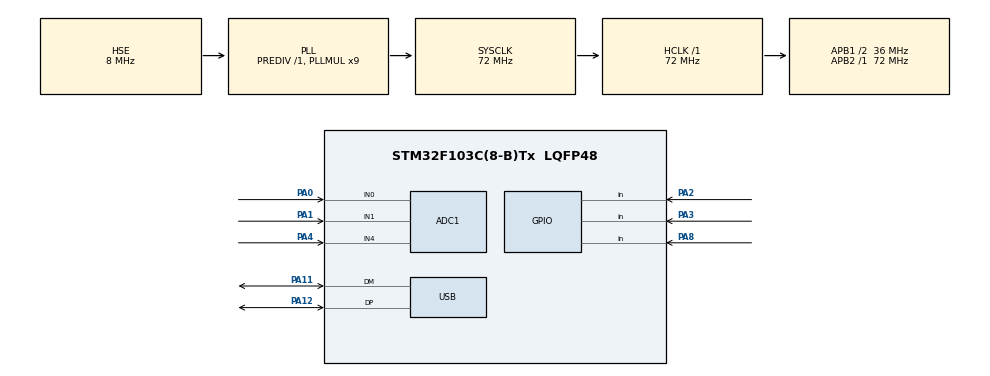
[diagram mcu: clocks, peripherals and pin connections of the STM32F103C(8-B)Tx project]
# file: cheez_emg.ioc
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ADC1.Channel-0\#ChannelRegularConversion=ADC_CHANNEL_0
ADC1.Channel-1\#ChannelRegularConversion=ADC_CHANNEL_1
ADC1.Channel-2\#ChannelRegularConversion=ADC_CHANNEL_4
ADC1.ContinuousConvMode=DISABLE
ADC1.ExternalTrigConv=ADC_EXTERNALTRIGCONV_T3_TRGO
ADC1.NbrOfConversion=3
ADC1.NbrOfConversionFlag=1
ADC1.Rank-0\#ChannelRegularConversion=1
ADC1.Rank-1\#ChannelRegularConversion=2
ADC1.Rank-2\#ChannelRegularConversion=3
ADC1.SamplingTime-0\#ChannelRegularConversion=ADC_SAMPLETIME_28CYCLES_5
ADC1.SamplingTime-1\#ChannelRegularConversion=ADC_SAMPLETIME_28CYCLES_5
ADC1.SamplingTime-2\#ChannelRegularConversion=ADC_SAMPLETIME_28CYCLES_5
ADC1.master=1
Dma.ADC1.0.Direction=DMA_PERIPH_TO_MEMORY
Dma.ADC1.0.Instance=DMA1_Channel1
Dma.ADC1.0.MemDataAlignment=DMA_MDATAALIGN_HALFWORD
Dma.ADC1.0.MemInc=DMA_MINC_ENABLE
Dma.ADC1.0.Mode=DMA_CIRCULAR
Dma.ADC1.0.PeriphDataAlignment=DMA_PDATAALIGN_HALFWORD
Dma.ADC1.0.PeriphInc=DMA_PINC_DISABLE
Dma.ADC1.0.Priority=DMA_PRIORITY_LOW
Dma.Request0=ADC1
Mcu.Family=STM32F1
Mcu.Name=STM32F103C(8-B)Tx
Mcu.Package=LQFP48
NVIC.DMA1_Channel1_IRQn=true\:0\:0\:false\:false\:true\:false\:true\:true
NVIC.PriorityGroup=NVIC_PRIORITYGROUP_4
NVIC.USB_LP_CAN1_RX0_IRQn=true\:0\:0\:false\:false\:true\:false\:true\:true
PA0-WKUP.Signal=ADCx_IN0
PA1.Signal=ADCx_IN1
PA11.Mode=Device
PA11.Signal=USB_DM
PA12.Mode=Device
PA12.Signal=USB_DP
PA13.Mode=Serial_Wire
PA13.Signal=SYS_JTMS-SWDIO
PA14.Mode=Serial_Wire
PA14.Signal=SYS_JTCK-SWCLK
PA2.GPIO_PuPd=GPIO_PULLDOWN
PA2.Signal=GPIO_Input
PA3.GPIO_PuPd=GPIO_PULLDOWN
PA3.Signal=GPIO_Input
PA4.Signal=ADCx_IN4
PA8.GPIO_PuPd=GPIO_PULLDOWN
PA8.Signal=GPIO_Input
PD0-OSC_IN.Mode=HSE-External-Oscillator
PD0-OSC_IN.Signal=RCC_OSC_IN
PD1-OSC_OUT.Mode=HSE-External-Oscillator
PD1-OSC_OUT.Signal=RCC_OSC_OUT
ProjectManager.HeapSize=0x200
ProjectManager.StackSize=0x800
ProjectManager.TargetToolchain=CMake
RCC.ADCPresc=RCC_ADCPCLK2_DIV6
RCC.AHBFreq_Value=72000000
RCC.APB1CLKDivider=RCC_HCLK_DIV2
RCC.APB1Freq_Value=36000000
RCC.APB1TimFreq_Value=72000000
RCC.APB2Freq_Value=72000000
RCC.APB2TimFreq_Value=72000000
RCC.HCLKFreq_Value=72000000
RCC.PLLMUL=RCC_PLL_MUL9
RCC.SYSCLKFreq_VALUE=72000000
RCC.SYSCLKSource=RCC_SYSCLKSOURCE_PLLCLK
RCC.USBFreq_Value=48000000
RCC.USBPrescaler=RCC_USBCLKSOURCE_PLL_DIV1_5
SH.ADCx_IN0.0=ADC1_IN0,IN0
SH.ADCx_IN1.0=ADC1_IN1,IN1
SH.ADCx_IN4.0=ADC1_IN4,IN4
TIM3.Period=999
TIM3.Prescaler=35
TIM3.TIM_MasterOutputTrigger=TIM_TRGO_UPDATE
USB_DEVICE.CLASS_NAME_FS=CDC
USB_DEVICE.VirtualMode=Cdc
USB_DEVICE.VirtualModeFS=Cdc_FS
VP_TIM3_VS_ClockSourceINT.Mode=Internal
VP_USB_DEVICE_VS_USB_DEVICE_CDC_FS.Mode=CDC_FS
board=custom

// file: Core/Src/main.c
/* USER CODE BEGIN Header */
/**
  ******************************************************************************
  * @file           : main.c
  * @brief          : Main program body
  ******************************************************************************
  * @attention
  *
  * Copyright (c) 2026 STMicroelectronics.
  * All rights reserved.
  *
  * This software is licensed under terms that can be found in the LICENSE file
  * in the root directory of this software component.
  * If no LICENSE file comes with this software, it is provided AS-IS.
  *
  ******************************************************************************
  */
/* USER CODE END Header */
#include "main.h"
#include "adc.h"
#include "dma.h"
#include "tim.h"
#include "usb_device.h"
#include "gpio.h"

/* USER CODE BEGIN Includes */
#include <stdbool.h>

#include "emg_activation.h"
#include "emg_view.h"
#include "emg_classifier.h"
#include "emg_features.h"
#include "emg_filter.h"
#include "emg_gate.h"
#include "emg_packet.h"
#include "emg_rx.h"
#include "usbd_cdc_if.h"
/* USER CODE END Includes */

/* USER CODE BEGIN PD */
#define EMG_CHANNELS 3u
#define EMG_FRAMES_PER_PACKET 32u
#define EMG_SAMPLE_RATE_HZ 2000u
#define EMG_ADC_BITS 12u
#define EMG_FIRMWARE_VERSION 0x0100u

/* One half-buffer is exactly one RAW packet, so a half-transfer interrupt
 * produces one packet with nothing left over. */
#define EMG_HALF_SAMPLES (EMG_FRAMES_PER_PACKET * EMG_CHANNELS)
#define EMG_FRAME_PERIOD_US (1000000u / EMG_SAMPLE_RATE_HZ)
#define EMG_TX_BUFFER_SIZE (EMG_HEADER_SIZE + EMG_RAW_HEADER_SIZE \
                            + EMG_HALF_SAMPLES * 2u + EMG_CRC_SIZE)
#define EMG_INFO_PERIOD_MS 2000u
#define EMG_TX_TIMEOUT_MS 5u

/* Must equal ZERO_CROSSING_THRESHOLD in firmware/tools/emg_train_lda.py. The
 * model was fitted on features counted with this threshold; a different one
 * here changes one of the twelve inputs and silently invalidates it. */
#define EMG_ZERO_CROSSING_THRESHOLD 10u
#define EMG_WEAR_ALL_ATTACHED ((1u << EMG_CHANNELS) - 1u)

/* confidence = min(255, (top score - runner-up) >> this). Diagnostic only:
 * the mapping is reconstructible by the host but no threshold on it has been
 * validated, so nothing may gate on it. See PROTOCOL.md. */
#define EMG_CONFIDENCE_SHIFT 16
/* USER CODE END PD */

/* USER CODE BEGIN PV */
/* Circular DMA target, two halves. No lock guards it: by the time an
 * interrupt announces a half, the DMA is already writing the other one, so
 * the CPU never reads the half being written. */
static uint16_t emg_adc_buffer[2u * EMG_HALF_SAMPLES];

/* Written only by the ADC interrupt, read only by the main loop. A single
 * counter is enough -- which physical half is ready follows from its parity. */
static volatile uint32_t emg_halves_produced;
static uint32_t emg_halves_consumed;

/* CDC_Transmit_FS hands the pointer to the USB driver and returns while the
 * transfer is still in flight, so encoding the next packet into the same
 * memory would corrupt the one being sent. Two buffers, used alternately. */
static uint8_t emg_tx_buffer[2][EMG_TX_BUFFER_SIZE];
static uint8_t emg_tx_slot;

static uint16_t emg_info_sequence;
static uint32_t emg_next_info_tick;

static emg_filter_t emg_filters[EMG_CHANNELS];
static emg_feature_window_t emg_windows[EMG_CHANNELS];
static uint32_t emg_saturations[EMG_CHANNELS];
static emg_gate_t emg_gate;
static emg_activation_t emg_activation;
/* Full-deflection levels for the two steering gestures. Held here rather
 * than inside emg_activation_t: that struct owns the threshold rule -- EMA
 * baseline, factor, floor -- and these belong to the view channel, which is a
 * different question about the same number. Zero means none was supplied and
 * emg_view_reference falls back. */
static int32_t emg_view_reference_left;
static int32_t emg_view_reference_right;
static uint16_t emg_intent_sequence;

/* Host-to-device receive path. Not static: the USB CDC receive callback in
 * usbd_cdc_if.c pushes into it from interrupt context. Zero-initialised is
 * a valid empty state, so bytes arriving before USER CODE 2 runs land in a
 * working ring rather than undefined behaviour. */
emg_rx_t emg_usb_rx;

/* How the activation threshold came to hold its current values, reported in
 * every ACTIVATION_STATE packet. RAM only: a reset returns to the compile-
 * time defaults and the host re-sends on its startup handshake. */
static uint8_t emg_activation_source; /* emg_activation_source_t */
static uint8_t emg_activation_last_result; /* emg_set_result_t */
static uint16_t emg_activation_applied_sequence;
static uint16_t emg_state_sequence;

/* Frames processed by the DSP, which is not the same as frames captured: the
 * count only advances over samples that actually entered the filters, so the
 * INTENT timestamp names the frame the decision was made on and the host can
 * align it against the RAW stream exactly. */
static uint32_t emg_frames_processed;

/* Saturates at the window length. A feature window is usable only when every
 * frame in it was contiguous and fully attached, which is the same rule the
 * host applies, so this counter is compared against EMG_FEATURES_WINDOW rather
 * than tracking per-frame validity. */
static uint16_t emg_frames_since_invalid;
/* USER CODE END PV */

void SystemClock_Config(void);
/* USER CODE BEGIN PFP */
static uint8_t emg_read_wear_mask(void);
static bool emg_transmit(const uint8_t *data, uint16_t length);
static void emg_send_info(void);
static void emg_send_activation_state(void);
static void emg_apply_set_activation(const emg_set_activation_t *request);
static void emg_send_raw_half(uint32_t index, uint8_t wear_mask);
static void emg_dsp_init(void);
static void emg_dsp_discontinuity(void);
static void emg_process_half(uint32_t index, bool attached);
static void emg_send_intent(emg_command_t command,
                            const emg_classification_t *result,
                            bool window_valid, uint32_t new_saturations,
                            emg_command_t decision, int32_t total_mav);
/* USER CODE END PFP */

/* USER CODE BEGIN 0 */
static uint8_t emg_read_wear_mask(void)
{
  uint8_t mask = 0u;

  /* Sensor column A0 -> PA8, A1 -> PA2, A2 -> PA3; see firmware/README.md.
   * The pins are pulled down, so an unplugged column reads as no contact --
   * the fail-closed direction. Polarity is assumed active-high and has not
   * been verified against the module yet. */
  if (HAL_GPIO_ReadPin(GPIOA, GPIO_PIN_8) == GPIO_PIN_SET) { mask |= 1u << 0; }
  if (HAL_GPIO_ReadPin(GPIOA, GPIO_PIN_2) == GPIO_PIN_SET) { mask |= 1u << 1; }
  if (HAL_GPIO_ReadPin(GPIOA, GPIO_PIN_3) == GPIO_PIN_SET) { mask |= 1u << 2; }
  return mask;
}

static bool emg_transmit(const uint8_t *data, uint16_t length)
{
  const uint32_t start = HAL_GetTick();

  /* Subtraction rather than a computed deadline, so a tick wrap cannot make
   * the timeout fire immediately or never. */
  while (CDC_Transmit_FS((uint8_t *)data, length) == USBD_BUSY) {
    if ((HAL_GetTick() - start) >= EMG_TX_TIMEOUT_MS) {
      return false;
    }
  }
  return true;
}

static void emg_send_info(void)
{
  const emg_info_t info = {
      EMG_FIRMWARE_VERSION, EMG_SAMPLE_RATE_HZ, (uint8_t)EMG_CHANNELS,
      (uint8_t)EMG_ADC_BITS, (uint8_t)EMG_FRAMES_PER_PACKET,
  };
  uint8_t *buffer = emg_tx_buffer[emg_tx_slot];
  const size_t length = emg_encode_info(
      buffer, EMG_TX_BUFFER_SIZE, emg_info_sequence,
      emg_halves_consumed * EMG_FRAMES_PER_PACKET * EMG_FRAME_PERIOD_US, &info);

  if (length != 0u) {
    emg_tx_slot ^= 1u;
    (void)emg_transmit(buffer, (uint16_t)length);
  }
  /* Advance even when the send failed: the host should see a gap rather than
   * a repeat, because a repeat looks like working firmware. */
  emg_info_sequence++;
}

static void emg_send_activation_state(void)
{
  emg_activation_state_t state;
  uint8_t *buffer = emg_tx_buffer[emg_tx_slot];
  size_t length;

  state.source = emg_activation_source;
  state.factor = (uint8_t)emg_activation.factor;
  state.baseline_shift = (uint8_t)emg_activation.baseline_shift;
  state.last_result = emg_activation_last_result;
  state.threshold_floor = emg_activation.threshold_floor;
  state.applied_sequence = emg_activation_applied_sequence;
  {
    /* Saturated rather than truncated: a baseline this large means nothing
     * is working anyway, and a wrapped value would read as a healthy one. */
    const int32_t baseline = emg_activation_baseline(&emg_activation);
    state.baseline = (baseline > 65535) ? 65535u : (uint16_t)baseline;
  }
  state.reference_left = emg_view_reference_left;
  state.reference_right = emg_view_reference_right;
  length = emg_encode_activation_state(
      buffer, EMG_TX_BUFFER_SIZE, emg_state_sequence,
      emg_frames_processed * EMG_FRAME_PERIOD_US, &state);
  if (length != 0u)
  {
    emg_tx_slot ^= 1u;
    (void)emg_transmit(buffer, (uint16_t)length);
  }
  emg_state_sequence++;
}

/* Apply one decoded host request and report the outcome immediately, so the
 * sender never waits a full periodic-state interval to learn it. A rejected
 * request changes nothing: emg_activation_reconfigure validates before it
 * touches state, so there is no partial apply to undo. */
/* Zero means "not measured, use the fallback". Anything positive has to sit
 * above the threshold, because the span activation maps is the one above it
 * and a reference inside it is an empty span. The host encoder refuses these
 * too; the board checks anyway, because a board that trusts its host has no
 * way to report the one thing it is uniquely positioned to notice. */
static bool emg_view_reference_valid(int32_t reference, int32_t threshold)
{
  return reference == 0 || reference > threshold;
}

static void emg_apply_set_activation(const emg_set_activation_t *request)
{
  bool accepted = false;

  if (request->mode == (uint8_t)EMG_SET_MODE_DEFAULTS)
  {
    /* A deliberate un-calibration: a stale calibration from a previous
     * wearer or donning is worse than none. Value fields are ignored. */
    accepted = emg_activation_reconfigure(&emg_activation,
                                          EMG_ACTIVATION_FACTOR,
                                          EMG_ACTIVATION_BASELINE_SHIFT,
                                          EMG_ACTIVATION_THRESHOLD_FLOOR);
    if (accepted)
    {
      emg_activation_source = (uint8_t)EMG_ACTIVATION_SOURCE_DEFAULTS;
      emg_view_reference_left = 0;
      emg_view_reference_right = 0;
    }
  }
  else if (request->mode == (uint8_t)EMG_SET_MODE_APPLY)
  {
    /* Checked before reconfiguring, so a bad reference rejects the whole
     * request rather than leaving a new threshold beside an old reference --
     * a pair that was never measured together and describes no donning. */
    accepted =
        emg_view_reference_valid(request->reference_left,
                                 request->threshold_floor)
        && emg_view_reference_valid(request->reference_right,
                                    request->threshold_floor)
        && emg_activation_reconfigure(&emg_activation, request->factor,
                                      request->baseline_shift,
                                      request->threshold_floor);
    if (accepted)
    {
      emg_activation_source = (uint8_t)EMG_ACTIVATION_SOURCE_HOST;
      emg_view_reference_left = request->reference_left;
      emg_view_reference_right = request->reference_right;
    }
  }

  if (accepted)
  {
    emg_activation_last_result = (uint8_t)EMG_SET_RESULT_ACCEPTED;
    emg_activation_applied_sequence = request->sequence;
  }
  else
  {
    emg_activation_last_result = (uint8_t)EMG_SET_RESULT_REJECTED;
  }
  emg_send_activation_state();
}

static void emg_send_raw_half(uint32_t index, uint8_t wear_mask)
{
  const uint16_t *half = &emg_adc_buffer[(index % 2u) * EMG_HALF_SAMPLES];
  uint8_t *buffer = emg_tx_buffer[emg_tx_slot];

  /* The sample clock is hardware-timed, so the timestamp is derived from the
   * frame count rather than from HAL_GetTick, whose 1 ms resolution is
   * coarser than a 0.5 ms sample period. Wraps every 71.6 minutes, which is
   * what PROTOCOL.md specifies. */
  const size_t length = emg_encode_raw(
      buffer, EMG_TX_BUFFER_SIZE, (uint16_t)index,
      index * EMG_FRAMES_PER_PACKET * EMG_FRAME_PERIOD_US,
      wear_mask, half, (uint16_t)EMG_HALF_SAMPLES);

  if (length != 0u) {
    emg_tx_slot ^= 1u;
    (void)emg_transmit(buffer, (uint16_t)length);
  }
}

static void emg_dsp_init(void)
{
  emg_gate_config_t gate_config;

  for (uint32_t channel = 0u; channel < EMG_CHANNELS; channel++) {
    if (!emg_filter_init(&emg_filters[channel],
                         emg_filter_20_450_notch60_at_2000,
                         EMG_FILTER_DEFAULT_SECTIONS)) {
      Error_Handler();
    }
    if (!emg_features_init(&emg_windows[channel],
                           EMG_ZERO_CROSSING_THRESHOLD)) {
      Error_Handler();
    }
    emg_saturations[channel] = 0u;
  }
  emg_gate_default_config(&gate_config);
  if (!emg_gate_init(&emg_gate, &gate_config)) {
    Error_Handler();
  }
  if (!emg_activation_init(&emg_activation, EMG_ACTIVATION_FACTOR,
                           EMG_ACTIVATION_BASELINE_SHIFT,
                           EMG_ACTIVATION_THRESHOLD_FLOOR)) {
    Error_Handler();
  }
  emg_frames_since_invalid = 0u;
}

/* A gap in the sample stream is not a small error. The biquad state and the
 * feature window both assume contiguous samples, so carrying them across a gap
 * produces plausible features from a signal that never existed. Everything is
 * reset and the gate is told the evidence is gone. */
static void emg_dsp_discontinuity(void)
{
  for (uint32_t channel = 0u; channel < EMG_CHANNELS; channel++) {
    emg_filter_reset(&emg_filters[channel]);
    emg_features_reset(&emg_windows[channel]);
    emg_saturations[channel] = emg_windows[channel].saturations;
  }
  emg_gate_invalidate(&emg_gate);
  /* The activation baseline is deliberately left alone: rest amplitude is a
   * property of the wearer and the donning, not of stream continuity, so a
   * dropout should not strip the amplitude protection that survives it. */
  emg_frames_since_invalid = 0u;
}

/* `command` is the event gate's output and `decision` the post-activation
 * per-hop one. They are different readings and both are needed: the discrete
 * half of the packet carries the event, the proportional half carries what
 * the muscle is doing right now. */
static void emg_send_intent(emg_command_t command,
                            const emg_classification_t *result,
                            bool window_valid, uint32_t new_saturations,
                            emg_command_t decision, int32_t total_mav)
{
  uint8_t *buffer = emg_tx_buffer[emg_tx_slot];
  int64_t best = result->scores[0];
  int64_t runner_up = INT64_MIN;
  emg_intent_t intent;

  for (uint32_t class_index = 1u;
       class_index < EMG_CLASSIFIER_CLASS_COUNT;
       class_index++) {
    const int64_t score = result->scores[class_index];
    if (score > best) {
      runner_up = best;
      best = score;
    } else if (score > runner_up) {
      runner_up = score;
    }
  }

  const int64_t margin = (best - runner_up) >> EMG_CONFIDENCE_SHIFT;
  intent.command = (uint8_t)command;
  intent.confidence = (margin >= 255) ? 255u : (uint8_t)margin;
  /* Quality is contact and headroom, not certainty: a clipped or detached
   * window can still produce a confident wrong score. */
  if (!window_valid) {
    intent.signal_quality = 0u;
  } else if (new_saturations >= 255u) {
    intent.signal_quality = 0u;
  } else {
    intent.signal_quality = (uint8_t)(255u - new_saturations);
  }
  /* Proportional view control is not implemented. */
  /* The proportional half of the same decision. Derived from the
   * post-activation decision, not the classifier output: a window too quiet
   * to be an intent is also too quiet to steer with. The threshold is
   * recomputed rather than stored so it can never disagree with what the
   * activation stage just applied. */
  {
    const int32_t baseline = emg_activation_baseline(&emg_activation);
    const int32_t relative = (int32_t)emg_activation.factor * baseline;
    const int32_t threshold = relative > emg_activation.threshold_floor
                                  ? relative
                                  : emg_activation.threshold_floor;
    intent.direction = emg_view_direction(decision);
    intent.activation = emg_view_activation(
        total_mav, threshold,
        emg_view_reference(intent.direction, threshold,
                           emg_view_reference_left,
                           emg_view_reference_right));
  }

  const size_t length = emg_encode_intent(
      buffer, EMG_TX_BUFFER_SIZE, emg_intent_sequence,
      emg_frames_processed * EMG_FRAME_PERIOD_US, &intent);
  if (length != 0u) {
    emg_tx_slot ^= 1u;
    (void)emg_transmit(buffer, (uint16_t)length);
  }
  emg_intent_sequence++;
}

static void emg_process_half(uint32_t index, bool attached)
{
  const uint16_t *half = &emg_adc_buffer[(index % 2u) * EMG_HALF_SAMPLES];

  for (uint32_t frame = 0u; frame < EMG_FRAMES_PER_PACKET; frame++) {
    emg_features_t features[EMG_CHANNELS] = {0};
    uint32_t hops = 0u;

    /* One wear reading covers the whole half, matching what the host sees:
     * a RAW packet carries a single mask that it applies to every frame in
     * the packet. Reading per frame here would make the two disagree. */
    if (!attached) {
      emg_frames_since_invalid = 0u;
    } else if (emg_frames_since_invalid < EMG_FEATURES_WINDOW) {
      emg_frames_since_invalid++;
    }

    for (uint32_t channel = 0u; channel < EMG_CHANNELS; channel++) {
      /* 12-bit unsigned counts fit int16 as they are. The band-pass removes
       * the offset, and the host feeds the filter the same raw counts, so no
       * centring is applied on either side. */
      const int16_t raw = (int16_t)half[frame * EMG_CHANNELS + channel];
      const int32_t filtered = emg_filter_step(&emg_filters[channel], raw);
      if (emg_features_push(&emg_windows[channel], filtered,
                            &features[channel])) {
        hops++;
      }
    }
    emg_frames_processed++;

    /* Every channel is pushed for every frame, so the three cross a hop on the
     * same sample. Requiring all three rather than testing one means a future
     * edit that lets them drift apart produces no classification instead of a
     * classification built from one stale channel. */
    if (hops == EMG_CHANNELS) {
      emg_classification_t result;
      emg_command_t event = EMG_COMMAND_REST;
      const bool window_valid =
          (emg_frames_since_invalid >= EMG_FEATURES_WINDOW);
      uint32_t new_saturations = 0u;

      for (uint32_t channel = 0u; channel < EMG_CHANNELS; channel++) {
        new_saturations +=
            emg_windows[channel].saturations - emg_saturations[channel];
        emg_saturations[channel] = emg_windows[channel].saturations;
      }
      if (!emg_classifier_predict(features, &result)) {
        continue;
      }
      /* Shape first, then strength: the classifier names the gesture the
       * window resembles, and the activation stage decides whether enough
       * muscle was behind it to count as an intent at all. A preparatory
       * movement at twice resting amplitude classifies correctly as a
       * gesture and is still not one. */
      const int32_t total_mav = features[0].mean_absolute_value
                                + features[1].mean_absolute_value
                                + features[2].mean_absolute_value;
      const emg_command_t decision = emg_activation_apply(
          &emg_activation, result.command, window_valid, total_mav);
      /* A direction-only class steers and nothing else. Rewriting it to REST
       * here is what keeps it out of the INTENT command field, so no receiver
       * has to learn a fifth command and the gesture cannot acquire a
       * discrete meaning: while a search sweeps, a gesture is a direction.
       * REST is also what lets the gate re-arm, which is right -- as far as
       * the discrete path is concerned nothing happened. */
      const emg_command_t gated = (decision == EMG_COMMAND_ULNAR)
                                      ? EMG_COMMAND_REST
                                      : decision;
      /* REST is reported too. A silent link is indistinguishable from a dead
       * one, so the absence of intent is stated rather than implied; the
       * command carries the gate's event, so anything other than REST means
       * an event fired on this hop. */
      (void)emg_gate_push(&emg_gate, gated, window_valid, &event);
      emg_send_intent(event, &result, window_valid, new_saturations,
                      decision, total_mav);
    }
  }
}
/* USER CODE END 0 */

int main(void)
{

  /* MCU Configuration--------------------------------------------------------*/

  /* Reset of all peripherals, Initializes the Flash interface and the Systick. */
  HAL_Init();

  /* Configure the system clock */
  SystemClock_Config();

  /* Initialize all configured peripherals */
  MX_GPIO_Init();
  MX_DMA_Init();
  MX_USB_DEVICE_Init();
  MX_ADC1_Init();
  MX_TIM3_Init();
  /* USER CODE BEGIN 2 */
  /* Before the ADC starts, so no half can arrive at an uninitialised filter. */
  emg_dsp_init();
  /* The F1 ADC needs a self-calibration after power-up. Skipping it leaves a
   * few counts of offset that nothing downstream can recover. */
  if (HAL_ADCEx_Calibration_Start(&hadc1) != HAL_OK)
  {
    Error_Handler();
  }
  if (HAL_ADC_Start_DMA(&hadc1, (uint32_t *)emg_adc_buffer,
                        (uint32_t)(2u * EMG_HALF_SAMPLES)) != HAL_OK)
  {
    Error_Handler();
  }
  /* Timer last: the ADC has to be armed before the first trigger arrives. */
  if (HAL_TIM_Base_Start(&htim3) != HAL_OK)
  {
    Error_Handler();
  }
  emg_next_info_tick = HAL_GetTick();
/* USER CODE END 2 */

  /* Infinite loop */
  while (1)
  {

    /* USER CODE BEGIN 3 */
    if ((int32_t)(HAL_GetTick() - emg_next_info_tick) >= 0)
    {
      emg_send_info();
      /* On the INFO cadence so a host that just attached learns what the
       * board is judging with without asking. */
      emg_send_activation_state();
      emg_next_info_tick += EMG_INFO_PERIOD_MS;
    }

    {
      /* One request per loop pass keeps arrival order and bounds the time
       * spent here; configuration traffic is a few packets per session. */
      emg_set_activation_t request;
      if (emg_rx_poll(&emg_usb_rx, &request))
      {
        emg_apply_set_activation(&request);
      }
    }

    const uint32_t produced = emg_halves_produced;
    if (produced != emg_halves_consumed)
    {
      /* More than one half outstanding means the DMA has already wrapped past
       * the oldest one and is overwriting it, so sending it would ship torn
       * data. Skip to the newest complete half instead; the sequence gap
       * reports the loss to the host through the same path a dropped USB
       * packet does. */
      if ((produced - emg_halves_consumed) > 1u)
      {
        emg_halves_consumed = produced - 1u;
        /* The RAW stream survives a gap; the DSP does not, so it is told. */
        emg_dsp_discontinuity();
      }
      /* Read once and share it. RAW reports the mask to the host and the DSP
       * decides window validity from it, so two reads could disagree and make
       * the host's replay diverge from the firmware's own decision. */
      const uint8_t wear_mask = emg_read_wear_mask();
      emg_send_raw_half(emg_halves_consumed, wear_mask);
      emg_process_half(emg_halves_consumed, wear_mask == EMG_WEAR_ALL_ATTACHED);
      emg_halves_consumed++;
    }
  }
  /* USER CODE END 3 */
}

void SystemClock_Config(void)
{
  RCC_OscInitTypeDef RCC_OscInitStruct = {0};
  RCC_ClkInitTypeDef RCC_ClkInitStruct = {0};
  RCC_PeriphCLKInitTypeDef PeriphClkInit = {0};

  /** Initializes the RCC Oscillators according to the specified parameters
  * in the RCC_OscInitTypeDef structure.
  */
  RCC_OscInitStruct.OscillatorType = RCC_OSCILLATORTYPE_HSE;
  RCC_OscInitStruct.HSEState = RCC_HSE_ON;
  RCC_OscInitStruct.HSEPredivValue = RCC_HSE_PREDIV_DIV1;
  RCC_OscInitStruct.HSIState = RCC_HSI_ON;
  RCC_OscInitStruct.PLL.PLLState = RCC_PLL_ON;
  RCC_OscInitStruct.PLL.PLLSource = RCC_PLLSOURCE_HSE;
  RCC_OscInitStruct.PLL.PLLMUL = RCC_PLL_MUL9;
  if (HAL_RCC_OscConfig(&RCC_OscInitStruct) != HAL_OK)
  {
    Error_Handler();
  }

  /** Initializes the CPU, AHB and APB buses clocks
  */
  RCC_ClkInitStruct.ClockType = RCC_CLOCKTYPE_HCLK|RCC_CLOCKTYPE_SYSCLK
                              |RCC_CLOCKTYPE_PCLK1|RCC_CLOCKTYPE_PCLK2;
  RCC_ClkInitStruct.SYSCLKSource = RCC_SYSCLKSOURCE_PLLCLK;
  RCC_ClkInitStruct.AHBCLKDivider = RCC_SYSCLK_DIV1;
  RCC_ClkInitStruct.APB1CLKDivider = RCC_HCLK_DIV2;
  RCC_ClkInitStruct.APB2CLKDivider = RCC_HCLK_DIV1;

  if (HAL_RCC_ClockConfig(&RCC_ClkInitStruct, FLASH_LATENCY_2) != HAL_OK)
  {
    Error_Handler();
  }
  PeriphClkInit.PeriphClockSelection = RCC_PERIPHCLK_ADC|RCC_PERIPHCLK_USB;
  PeriphClkInit.AdcClockSelection = RCC_ADCPCLK2_DIV6;
  PeriphClkInit.UsbClockSelection = RCC_USBCLKSOURCE_PLL_DIV1_5;
  if (HAL_RCCEx_PeriphCLKConfig(&PeriphClkInit) != HAL_OK)
  {
    Error_Handler();
  }
}

/* USER CODE BEGIN 4 */
/* Both callbacks deliberately do almost nothing. All the work is left to the
 * main loop so that a busy USB endpoint can never stall an interrupt, and so
 * the interrupt cannot run long enough to overlap the next one. */
void HAL_ADC_ConvHalfCpltCallback(ADC_HandleTypeDef *hadc)
{
  if (hadc->Instance == ADC1)
  {
    emg_halves_produced++;
  }
}

void HAL_ADC_ConvCpltCallback(ADC_HandleTypeDef *hadc)
{
  if (hadc->Instance == ADC1)
  {
    emg_halves_produced++;
  }
}
/* USER CODE END 4 */

void Error_Handler(void)
{
  __disable_irq();
  while (1)
  {
  }
}
